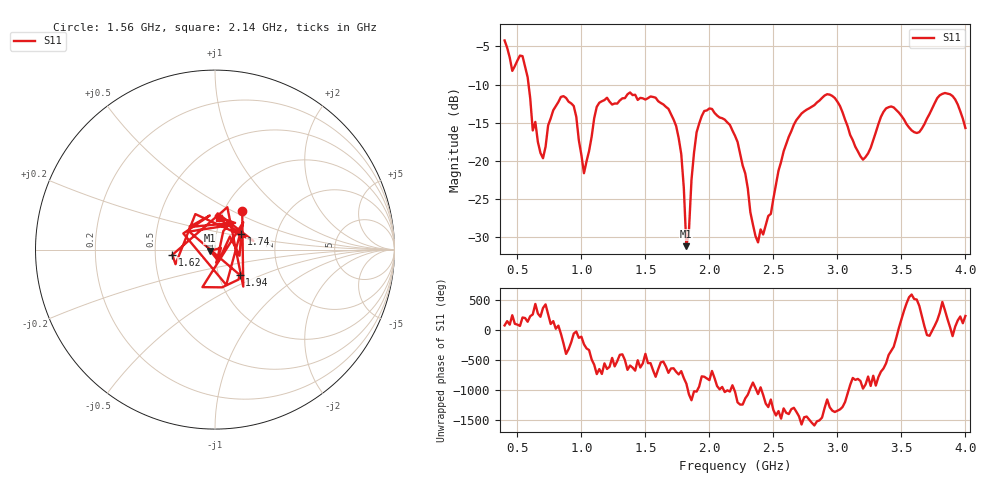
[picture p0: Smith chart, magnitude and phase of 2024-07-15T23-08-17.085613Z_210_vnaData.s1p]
!Created with skrf (http://scikit-rf.org).
# Hz S RI R 50.0
!freq ReS11 ImS11
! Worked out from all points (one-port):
!   181 points, 400 MHz to 4 GHz, reference 50 ohm
!   lowest |S11| = -31.2 dB at 1.82 GHz (marker M1), VSWR 1.06, Z = 47.4 - j0.608 ohm
!   |S11| at or under -10 dB: 587 MHz to end of sweep
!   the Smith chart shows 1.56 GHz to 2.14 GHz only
!   S11 on the Smith chart (normalised r, x): 1.56 GHz: 1.22, +0.56; 1.62 GHz: 0.61, -0.04; 1.74 GHz: 1.32, +0.23; 1.94 GHz: 1.26, -0.37; 2.14 GHz: 0.99, +0.36
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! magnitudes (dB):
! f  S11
! 400 MHz  -4.2
! 460 MHz  -8.2
! 540 MHz  -6.3
! 620 MHz  -16.0
! 700 MHz  -19.7
! 860 MHz  -11.5
! 940 MHz  -12.8
! 1.02 GHz  -21.6
! 1.12 GHz  -12.9
! 1.3 GHz  -12.1
! 1.56 GHz  -11.6
! 1.62 GHz  -12.4
! 1.74 GHz  -15.4
! 1.76 GHz  -17.0
! 1.82 GHz  -31.2
! 1.88 GHz  -18.9
! 1.94 GHz  -14.1
! 2.14 GHz  -15.0
! 2.2 GHz  -16.7
! 2.38 GHz  -30.7
! 2.66 GHz  -15.3
! 2.94 GHz  -11.3
! 3.1 GHz  -16.6
! 3.2 GHz  -19.9
! 3.38 GHz  -13.1
! 3.56 GHz  -15.6
! 3.84 GHz  -11.1
! 4 GHz  -15.7
